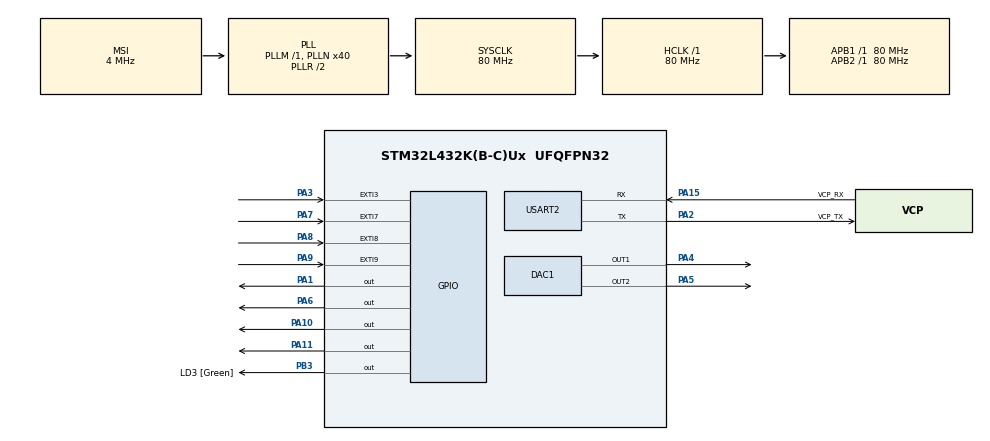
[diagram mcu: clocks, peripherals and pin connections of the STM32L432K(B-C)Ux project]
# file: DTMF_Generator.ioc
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DAC1.DAC_Channel-DAC_OUT2=DAC_CHANNEL_2
Mcu.Family=STM32L4
Mcu.Name=STM32L432K(B-C)Ux
Mcu.Package=UFQFPN32
NVIC.EXTI3_IRQn=true\:0\:0\:false\:false\:true\:true\:true\:true
NVIC.EXTI9_5_IRQn=true\:0\:0\:false\:false\:true\:true\:true\:true
NVIC.PriorityGroup=NVIC_PRIORITYGROUP_4
NVIC.TIM1_UP_TIM16_IRQn=true\:0\:0\:false\:false\:true\:true\:true\:true
NVIC.TIM6_DAC_IRQn=true\:0\:0\:false\:false\:true\:true\:true\:true
NVIC.TIM7_IRQn=true\:0\:0\:false\:false\:true\:true\:true\:true
PA0.GPIO_Label=MCO [High speed clock in]
PA0.Mode=HSE-External-Clock-Source-for-LittleOrca
PA0.Signal=RCC_CK_IN
PA1.Signal=GPIO_Output
PA10.Signal=GPIO_Output
PA11.Signal=GPIO_Output
PA13\ (JTMS-SWDIO).GPIO_Label=SWDIO
PA13\ (JTMS-SWDIO).Mode=Serial_Wire
PA13\ (JTMS-SWDIO).Signal=SYS_JTMS-SWDIO
PA14\ (JTCK-SWCLK).GPIO_Label=SWCLK
PA14\ (JTCK-SWCLK).Mode=Serial_Wire
PA14\ (JTCK-SWCLK).Signal=SYS_JTCK-SWCLK
PA15\ (JTDI).GPIO_Label=VCP_RX
PA15\ (JTDI).Mode=Asynchronous
PA15\ (JTDI).Signal=USART2_RX
PA2.GPIO_Label=VCP_TX
PA2.Mode=Asynchronous
PA2.Signal=USART2_TX
PA3.Signal=GPXTI3
PA4.Signal=COMP_DAC11_group
PA5.Signal=COMP_DAC12_group
PA6.Signal=GPIO_Output
PA7.Signal=GPXTI7
PA8.Signal=GPXTI8
PA9.Signal=GPXTI9
PB3\ (JTDO-TRACESWO).GPIO_Label=LD3 [Green]
PB3\ (JTDO-TRACESWO).Signal=GPIO_Output
PC14-OSC32_IN\ (PC14).Mode=LSE-External-Oscillator
PC14-OSC32_IN\ (PC14).Signal=RCC_OSC32_IN
PC15-OSC32_OUT\ (PC15).Mode=LSE-External-Oscillator
PC15-OSC32_OUT\ (PC15).Signal=RCC_OSC32_OUT
ProjectManager.HeapSize=0x200
ProjectManager.StackSize=0x400
ProjectManager.TargetToolchain=STM32CubeIDE
RCC.AHBFreq_Value=80000000
RCC.APB1Freq_Value=80000000
RCC.APB1TimFreq_Value=80000000
RCC.APB2Freq_Value=80000000
RCC.APB2TimFreq_Value=80000000
RCC.CortexFreq_Value=80000000
RCC.HCLKFreq_Value=80000000
RCC.HSE_VALUE=8000000
RCC.HSI16_VALUE=16000000
RCC.HSI48_VALUE=48000000
RCC.HSI_VALUE=16000000
RCC.MSI_VALUE=4000000
RCC.PLLMUL=RCC_PLLMUL_4
RCC.PLLN=40
RCC.SYSCLKFreq_VALUE=80000000
RCC.SYSCLKSource=RCC_SYSCLKSOURCE_PLLCLK
RCC.VCOOutputFreq_Value=160000000
SH.COMP_DAC11_group.0=DAC1_OUT1,DAC_OUT1
SH.COMP_DAC12_group.0=DAC1_OUT2,DAC_OUT2
USART2.VirtualMode-Asynchronous=VM_ASYNC
VP_TIM16_VS_ClockSourceINT.Mode=Enable_Timer
VP_TIM7_VS_ClockSourceINT.Mode=Enable_Timer
board=NUCLEO-L432KC

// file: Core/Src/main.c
/* USER CODE BEGIN Header */
/**
  ******************************************************************************
  * @file           : main.c
  * @brief          : Main program body
  ******************************************************************************
  * @attention
  *
  * Copyright (c) 2024 STMicroelectronics.
  * All rights reserved.
  *
  * This software is licensed under terms that can be found in the LICENSE file
  * in the root directory of this software component.
  * If no LICENSE file comes with this software, it is provided AS-IS.
  *
  ******************************************************************************
  */
/* USER CODE END Header */
#include "main.h"
#include "dac.h"
#include "tim.h"
#include "usart.h"
#include "gpio.h"

/* USER CODE BEGIN Includes */
#include <math.h>
#include <stdbool.h>
/* USER CODE END Includes */

void SystemClock_Config(void);

/* USER CODE BEGIN 0 */
#define PI 3.1415926
GPIO_InitTypeDef GPIO_InitStructPrivate = {0};
uint32_t previousMillis = 0;
uint32_t currentMillis = 0;

volatile bool irq_flag = false;
volatile uint32_t i=0, l=0;
volatile uint16_t buffer1[64];
uint16_t sin_amp=0x0fff;
/* USER CODE END 0 */

int main(void)
{
  /* USER CODE BEGIN 1 */
	for(uint8_t j=0; j<64; j++){
//		buffer1[j]=((sin_amp+1)/2)*sin((2*M_PI*j)/64+1)+(sin_amp+1)/2;
	buffer1[j]=((sin(j*2*PI/64)+1)*(4096/2));
	}
  /* USER CODE END 1 */

  /* MCU Configuration--------------------------------------------------------*/

  /* Reset of all peripherals, Initializes the Flash interface and the Systick. */
  HAL_Init();

  /* Configure the system clock */
  SystemClock_Config();

  /* Initialize all configured peripherals */
  MX_GPIO_Init();
  MX_USART2_UART_Init();
  MX_DAC1_Init();
  MX_TIM7_Init();
  MX_TIM16_Init();
  /* USER CODE BEGIN 2 */
  HAL_DAC_Start(&hdac1, DAC_CHANNEL_1);
  HAL_DAC_Start(&hdac1, DAC_CHANNEL_2);
  HAL_TIM_Base_Start_IT(&htim16);
  HAL_TIM_Base_Start_IT(&htim7);

  HAL_GPIO_WritePin(GPIOA, GPIO_PIN_1, 1);
  HAL_GPIO_WritePin(GPIOA, GPIO_PIN_10, 1);
  HAL_GPIO_WritePin(GPIOA, GPIO_PIN_11, 1);
  HAL_GPIO_WritePin(GPIOA, GPIO_PIN_6, 1);
  /* USER CODE END 2 */

  /* Infinite loop */
  while (1)
  {

  }
}

void SystemClock_Config(void)
{
  RCC_OscInitTypeDef RCC_OscInitStruct = {0};
  RCC_ClkInitTypeDef RCC_ClkInitStruct = {0};

  /** Configure the main internal regulator output voltage
  */
  if (HAL_PWREx_ControlVoltageScaling(PWR_REGULATOR_VOLTAGE_SCALE1) != HAL_OK)
  {
    Error_Handler();
  }

  /** Configure LSE Drive Capability
  */
  HAL_PWR_EnableBkUpAccess();
  __HAL_RCC_LSEDRIVE_CONFIG(RCC_LSEDRIVE_LOW);

  /** Initializes the RCC Oscillators according to the specified parameters
  * in the RCC_OscInitTypeDef structure.
  */
  RCC_OscInitStruct.OscillatorType = RCC_OSCILLATORTYPE_LSE|RCC_OSCILLATORTYPE_MSI;
  RCC_OscInitStruct.LSEState = RCC_LSE_ON;
  RCC_OscInitStruct.MSIState = RCC_MSI_ON;
  RCC_OscInitStruct.MSICalibrationValue = 0;
  RCC_OscInitStruct.MSIClockRange = RCC_MSIRANGE_6;
  RCC_OscInitStruct.PLL.PLLState = RCC_PLL_ON;
  RCC_OscInitStruct.PLL.PLLSource = RCC_PLLSOURCE_MSI;
  RCC_OscInitStruct.PLL.PLLM = 1;
  RCC_OscInitStruct.PLL.PLLN = 40;
  RCC_OscInitStruct.PLL.PLLP = RCC_PLLP_DIV7;
  RCC_OscInitStruct.PLL.PLLQ = RCC_PLLQ_DIV2;
  RCC_OscInitStruct.PLL.PLLR = RCC_PLLR_DIV2;
  if (HAL_RCC_OscConfig(&RCC_OscInitStruct) != HAL_OK)
  {
    Error_Handler();
  }

  /** Initializes the CPU, AHB and APB buses clocks
  */
  RCC_ClkInitStruct.ClockType = RCC_CLOCKTYPE_HCLK|RCC_CLOCKTYPE_SYSCLK
                              |RCC_CLOCKTYPE_PCLK1|RCC_CLOCKTYPE_PCLK2;
  RCC_ClkInitStruct.SYSCLKSource = RCC_SYSCLKSOURCE_PLLCLK;
  RCC_ClkInitStruct.AHBCLKDivider = RCC_SYSCLK_DIV1;
  RCC_ClkInitStruct.APB1CLKDivider = RCC_HCLK_DIV1;
  RCC_ClkInitStruct.APB2CLKDivider = RCC_HCLK_DIV1;

  if (HAL_RCC_ClockConfig(&RCC_ClkInitStruct, FLASH_LATENCY_4) != HAL_OK)
  {
    Error_Handler();
  }

  /** Enable MSI Auto calibration
  */
  HAL_RCCEx_EnableMSIPLLMode();
}

/* USER CODE BEGIN 4 */

void HAL_TIM_PeriodElapsedCallback(TIM_HandleTypeDef *htim)
{

	  if(htim->Instance==TIM16){
//		  if(irq_flag){
			  HAL_DAC_SetValue(&hdac1, DAC_CHANNEL_1, DAC_ALIGN_12B_R, buffer1[l]);
			  l++;
			  if(l>=64) l=0;
	//		  HAL_GPIO_TogglePin(LD3_GPIO_Port, LD3_Pin);
//		  }
	  }
	  if(htim->Instance==TIM7){
//		  if(irq_flag){
			  HAL_DAC_SetValue(&hdac1, DAC_CHANNEL_2, DAC_ALIGN_12B_R, buffer1[i]);
			  i++;
			  if(i>=64) i=0;
//		  }
	  }
//	  irq_flag=false;
}

void HAL_GPIO_EXTI_Callback(uint16_t GPIO_Pin)
{
  irq_flag = true;
  currentMillis = HAL_GetTick();
  if (currentMillis - previousMillis > 10) {

    GPIO_InitStructPrivate.Pin = GPIO_PIN_3|GPIO_PIN_7|GPIO_PIN_8|GPIO_PIN_9;
    GPIO_InitStructPrivate.Mode = GPIO_MODE_INPUT;
    GPIO_InitStructPrivate.Pull = GPIO_NOPULL;
    GPIO_InitStructPrivate.Speed = GPIO_SPEED_FREQ_LOW;
    HAL_GPIO_Init(GPIOA, &GPIO_InitStructPrivate);

    HAL_GPIO_WritePin(GPIOA, GPIO_PIN_1, 1);
    HAL_GPIO_WritePin(GPIOA, GPIO_PIN_10, 0);
    HAL_GPIO_WritePin(GPIOA, GPIO_PIN_11, 0);
    HAL_GPIO_WritePin(GPIOA, GPIO_PIN_6, 0);
    if(GPIO_Pin == GPIO_PIN_3 && HAL_GPIO_ReadPin(GPIOA, GPIO_PIN_3))
    {

    	TIM16->ARR = 1792;
    	__NOP();
    	TIM7->ARR = 1033;
    	HAL_GPIO_WritePin(LD3_GPIO_Port, LD3_Pin,1);
    }
    else if(GPIO_Pin == GPIO_PIN_7 && HAL_GPIO_ReadPin(GPIOA, GPIO_PIN_7))
    {

    	TIM16->ARR = 1792;
    	__NOP();
    	TIM7->ARR = 936;
    	HAL_GPIO_WritePin(LD3_GPIO_Port, LD3_Pin,1);
    }
    else if(GPIO_Pin == GPIO_PIN_8 && HAL_GPIO_ReadPin(GPIOA, GPIO_PIN_8))
    {

    	TIM16->ARR = 1792;
    	__NOP();
    	TIM7->ARR = 845;
    	HAL_GPIO_WritePin(LD3_GPIO_Port, LD3_Pin,1);
    }
    else if(GPIO_Pin == GPIO_PIN_9 && HAL_GPIO_ReadPin(GPIOA, GPIO_PIN_9))
    {

    	TIM16->ARR = 1792;
    	__NOP();
    	TIM7->ARR = 764;
    	HAL_GPIO_WritePin(LD3_GPIO_Port, LD3_Pin,1);
    }
    else{
    	HAL_GPIO_WritePin(LD3_GPIO_Port, LD3_Pin, 0);
    }

    HAL_GPIO_WritePin(GPIOA, GPIO_PIN_1, 0);
    HAL_GPIO_WritePin(GPIOA, GPIO_PIN_10, 1);
    HAL_GPIO_WritePin(GPIOA, GPIO_PIN_11, 0);
    HAL_GPIO_WritePin(GPIOA, GPIO_PIN_6, 0);
    if(GPIO_Pin == GPIO_PIN_3 && HAL_GPIO_ReadPin(GPIOA, GPIO_PIN_3))
    {

    	TIM16->ARR = 1623;
    	__NOP();
    	TIM7->ARR = 1034;
    	HAL_GPIO_TogglePin(LD3_GPIO_Port, LD3_Pin);
    }
    else if(GPIO_Pin == GPIO_PIN_7 && HAL_GPIO_ReadPin(GPIOA, GPIO_PIN_7))
    {

    	TIM16->ARR = 1623;
    	__NOP();
    	TIM7->ARR = 937;
    	HAL_GPIO_TogglePin(LD3_GPIO_Port, LD3_Pin);
    }
    else if(GPIO_Pin == GPIO_PIN_8 && HAL_GPIO_ReadPin(GPIOA, GPIO_PIN_8))
    {

    	TIM16->ARR = 1623;
    	__NOP();
    	TIM7->ARR = 846;
    	HAL_GPIO_TogglePin(LD3_GPIO_Port, LD3_Pin);
    }
    else if(GPIO_Pin == GPIO_PIN_9 && HAL_GPIO_ReadPin(GPIOA, GPIO_PIN_9))
    {

    	TIM16->ARR = 1623;
    	__NOP();
    	TIM7->ARR = 765;
    	HAL_GPIO_TogglePin(LD3_GPIO_Port, LD3_Pin);
    }

    HAL_GPIO_WritePin(GPIOA, GPIO_PIN_1, 0);
    HAL_GPIO_WritePin(GPIOA, GPIO_PIN_10, 0);
    HAL_GPIO_WritePin(GPIOA, GPIO_PIN_11, 1);
    HAL_GPIO_WritePin(GPIOA, GPIO_PIN_6, 0);
    if(GPIO_Pin == GPIO_PIN_3 && HAL_GPIO_ReadPin(GPIOA, GPIO_PIN_3))
    {

//    	__NOP();= 48; //ASCII value of 0
    	TIM16->ARR = 1467;
    	__NOP();
    	TIM7->ARR = 1034;
    	HAL_GPIO_TogglePin(LD3_GPIO_Port, LD3_Pin);
    }
    else if(GPIO_Pin == GPIO_PIN_7 && HAL_GPIO_ReadPin(GPIOA, GPIO_PIN_7))
    {

//    	TIM7->ARR = 938;
//    	__NOP();
    	TIM16->ARR =1467;
    	__NOP();
    	TIM7->ARR = 937;
    	HAL_GPIO_TogglePin(LD3_GPIO_Port, LD3_Pin);
    }
    else if(GPIO_Pin == GPIO_PIN_8 && HAL_GPIO_ReadPin(GPIOA, GPIO_PIN_8))
    {

//    	TIM7->ARR = 938;
//    	__NOP();
    	TIM16->ARR =1467;
    	__NOP();
    	TIM7->ARR = 846;
    	HAL_GPIO_TogglePin(LD3_GPIO_Port, LD3_Pin);
    }
    else if(GPIO_Pin == GPIO_PIN_9 && HAL_GPIO_ReadPin(GPIOA, GPIO_PIN_9))
    {

//    	TIM7->ARR = 938;
//    	__NOP();
    	TIM16->ARR =1466;
    	__NOP();
    	TIM7->ARR = 765;
    	HAL_GPIO_TogglePin(LD3_GPIO_Port, LD3_Pin);
    }

    HAL_GPIO_WritePin(GPIOA, GPIO_PIN_1, 0);
    HAL_GPIO_WritePin(GPIOA, GPIO_PIN_10, 0);
    HAL_GPIO_WritePin(GPIOA, GPIO_PIN_11, 0);
    HAL_GPIO_WritePin(GPIOA, GPIO_PIN_6, 1);
    if(GPIO_Pin == GPIO_PIN_3 && HAL_GPIO_ReadPin(GPIOA, GPIO_PIN_3))
    {

//    	TIM7->ARR = 849;
//    	__NOP();
    	TIM16->ARR =1328;
    	__NOP();
    	TIM7->ARR = 1034;
    	HAL_GPIO_TogglePin(LD3_GPIO_Port, LD3_Pin);
    }
    else if(GPIO_Pin == GPIO_PIN_7 && HAL_GPIO_ReadPin(GPIOA, GPIO_PIN_7))
    {

//    	TIM7->ARR = 849;
//    	__NOP();
    	TIM16->ARR =1328;
    	__NOP();
    	TIM7->ARR = 937;
    	HAL_GPIO_TogglePin(LD3_GPIO_Port, LD3_Pin);
    }
    else if(GPIO_Pin == GPIO_PIN_8 && HAL_GPIO_ReadPin(GPIOA, GPIO_PIN_8))
    {

//    	TIM7->ARR = 849;
//    	__NOP();
    	TIM16->ARR =1328;
    	__NOP();
    	TIM7->ARR = 846;
    	HAL_GPIO_TogglePin(LD3_GPIO_Port, LD3_Pin);
    }
    else if(GPIO_Pin == GPIO_PIN_9 && HAL_GPIO_ReadPin(GPIOA, GPIO_PIN_9))
    {

//    	TIM7->ARR = 849;
//    	__NOP();
    	TIM16->ARR =1328;
    	__NOP();
    	TIM7->ARR = 765;
    	HAL_GPIO_TogglePin(LD3_GPIO_Port, LD3_Pin);
    }

    HAL_GPIO_WritePin(GPIOA, GPIO_PIN_1, 1);
    HAL_GPIO_WritePin(GPIOA, GPIO_PIN_10, 1);
    HAL_GPIO_WritePin(GPIOA, GPIO_PIN_11, 1);
    HAL_GPIO_WritePin(GPIOA, GPIO_PIN_6, 1);

    GPIO_InitStructPrivate.Mode = GPIO_MODE_IT_RISING;
    GPIO_InitStructPrivate.Pull = GPIO_PULLDOWN;
    HAL_GPIO_Init(GPIOA, &GPIO_InitStructPrivate);
    previousMillis = currentMillis;
  }

}
/* USER CODE END 4 */

void Error_Handler(void)
{
  __disable_irq();
  while (1)
  {
  }
}
